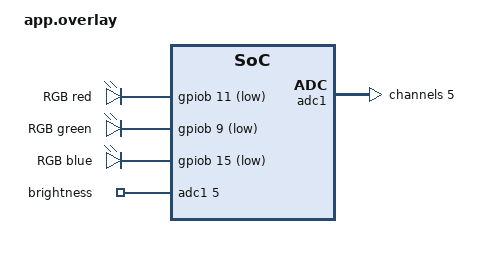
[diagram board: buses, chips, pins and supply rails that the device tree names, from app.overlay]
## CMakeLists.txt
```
cmake_minimum_required(VERSION 3.20.0)

find_package(Zephyr REQUIRED HINTS $ENV{ZEPHYR_BASE})
project(embedded_platforms_hands_on)

target_sources(app PRIVATE
    src/main.c
    src/button.c
)
```

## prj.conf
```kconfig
CONFIG_GPIO=y
CONFIG_ADC=y
CONFIG_SERIAL=y
CONFIG_CONSOLE=y
CONFIG_UART_CONSOLE=y
CONFIG_PRINTK=y

CONFIG_MAIN_STACK_SIZE=2048
CONFIG_ASSERT=y
```

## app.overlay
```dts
#include <zephyr/dt-bindings/adc/adc.h>
#include <zephyr/dt-bindings/gpio/gpio.h>

/ {
	aliases {
		/* Names used by main.c for the three RGB channels. */
		rgb-red = &rgb_red;
		rgb-green = &rgb_green;
		rgb-blue = &rgb_blue;
	};

	/*
	 * External RGB LED is common-anode: PB11 is red, PB9 is green,
	 * and PB15 is blue. The common anode connects to 3V3.
	 * Active-low GPIO flags turn each color on when the pin is low.
	 */
	rgb_channels: rgb_channels {
		compatible = "gpio-leds";

		rgb_red: red {
			/* Red channel on PB11. */
			gpios = <&gpiob 11 GPIO_ACTIVE_LOW>;
			label = "RGB red";
		};

		rgb_green: green {
			/* Green channel on PB9. */
			gpios = <&gpiob 9 GPIO_ACTIVE_LOW>;
			label = "RGB green";
		};

		rgb_blue: blue {
			/* Blue channel on PB15. */
			gpios = <&gpiob 15 GPIO_ACTIVE_LOW>;
			label = "RGB blue";
		};
	};

	zephyr,user {
		/* Arduino A0 = PB1 = ADC1_IN5 on NUCLEO-WL55JC. */
		/* This is the LDR input used by the application. */
		io-channels = <&adc1 5>;
		io-channel-names = "brightness";
	};
};

&adc1 {
	/* Set the ADC channel used by the LDR. */
	#address-cells = <1>;
	#size-cells = <0>;

	channel@5 {
		/* Channel 5 is connected to the LDR voltage divider. */
		reg = <5>;
		/* Use a direct ADC gain. */
		zephyr,gain = "ADC_GAIN_1";
		/* Required by Zephyr 4.1.0's STM32 ADC driver. */
		zephyr,reference = "ADC_REF_INTERNAL";
		/* A slow LDR divider needs more ADC sample time. */
		zephyr,acquisition-time = <ADC_ACQ_TIME_MAX>;
		/* Use the 12-bit ADC range. */
		zephyr,resolution = <12>;
	};
};
```

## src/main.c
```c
#include <errno.h>
#include <stdbool.h>
#include <stddef.h>
#include <stdint.h>

#include <zephyr/device.h>
#include <zephyr/drivers/adc.h>
#include <zephyr/drivers/gpio.h>
#include <zephyr/kernel.h>
#include <zephyr/sys/printk.h>
#include <zephyr/sys/util.h>

#include "button.h"

/* Take one ADC sample every two seconds in NORMAL mode. */
#define SAMPLE_PERIOD_MS 2000
/* Use 12 bits when the ADC does not give a resolution value. */
#define ADC_DEFAULT_RESOLUTION 12
/* Keep the LDR scale at the normal value. */
#define LDR_SENSITIVITY_PERCENT 100U

/* This divider's ADC voltage falls as the light level increases. */
#define LDR_BRIGHTNESS_INVERTED 1

enum app_mode {
	/* The three states used by the main control loop. */
	MODE_NORMAL,
	MODE_BLUE,
	MODE_OFF,
};

enum brightness_color {
	/* The colors selected from the LDR value. */
	BRIGHTNESS_RED,
	BRIGHTNESS_YELLOW,
	BRIGHTNESS_GREEN,
};

/* RGB pins and the LDR channel come from app.overlay. */
static const struct gpio_dt_spec rgb_red =
	GPIO_DT_SPEC_GET(DT_ALIAS(rgb_red), gpios);
static const struct gpio_dt_spec rgb_green =
	GPIO_DT_SPEC_GET(DT_ALIAS(rgb_green), gpios);
static const struct gpio_dt_spec rgb_blue =
	GPIO_DT_SPEC_GET(DT_ALIAS(rgb_blue), gpios);
static const struct adc_dt_spec ldr_adc =
	ADC_DT_SPEC_GET_BY_IDX(DT_PATH(zephyr_user), 0);

/* Get the color name used in the serial log. */
static const char *brightness_color_name(enum brightness_color color)
{
	switch (color) {
	case BRIGHTNESS_RED:
		return "RED";
	case BRIGHTNESS_YELLOW:
		return "YELLOW";
	case BRIGHTNESS_GREEN:
		return "GREEN";
	default:
		return "UNKNOWN";
	}
}

static int init_rgb(void)
{
	/* Check and configure all three RGB pins as outputs. */
	const struct gpio_dt_spec *channels[] = {
		&rgb_red,
		&rgb_green,
		&rgb_blue,
	};

	for (size_t i = 0; i < ARRAY_SIZE(channels); ++i) {
		if (!device_is_ready(channels[i]->port)) {
			printk("ERROR: RGB channel %u GPIO device is not ready\n",
			       (unsigned int)i);
			return -ENODEV;
		}

		int ret = gpio_pin_configure_dt(channels[i], GPIO_OUTPUT_INACTIVE);
		if (ret != 0) {
			printk("ERROR: RGB channel %u configuration failed (%d)\n",
			       (unsigned int)i, ret);
			return ret;
		}
	}

	return 0;
}

static int set_rgb(bool red, bool green, bool blue)
{
	/* Set the three color channels. The device tree handles active-low logic. */
	int ret = gpio_pin_set_dt(&rgb_red, red);
	if (ret != 0) {
		return ret;
	}

	ret = gpio_pin_set_dt(&rgb_green, green);
	if (ret != 0) {
		return ret;
	}

	return gpio_pin_set_dt(&rgb_blue, blue);
}

static int set_rgb_color(enum brightness_color color)
{
	/* Map a brightness color to the RGB channels. */
	switch (color) {
	case BRIGHTNESS_RED:
		return set_rgb(true, false, false);
	case BRIGHTNESS_YELLOW:
		return set_rgb(true, true, false);
	case BRIGHTNESS_GREEN:
		return set_rgb(false, true, false);
	default:
		return -EINVAL;
	}
}

static int set_rgb_blue(void)
{
	/* Show the BLUE mode color. */
	return set_rgb(false, false, true);
}

static int set_rgb_off(void)
{
	/* Turn all RGB channels off. */
	return set_rgb(false, false, false);
}

static int init_adc(void)
{
	/* Check the ADC and apply the channel setup from app.overlay. */
	if (!adc_is_ready_dt(&ldr_adc)) {
		printk("ERROR: brightness ADC device is not ready\n");
		return -ENODEV;
	}

	int ret = adc_channel_setup_dt(&ldr_adc);
	if (ret != 0) {
		printk("ERROR: brightness ADC channel setup failed (%d)\n", ret);
		return ret;
	}

	return 0;
}

static uint32_t adc_full_scale(void)
{
	/* Return the largest value for the current ADC resolution. */
	uint8_t resolution = ldr_adc.resolution;

	if (resolution == 0) {
		resolution = ADC_DEFAULT_RESOLUTION;
	}
	if (resolution >= 31) {
		return UINT32_MAX;
	}

	return BIT(resolution) - 1U;
}

static int read_brightness(uint16_t *raw_value, uint32_t *full_scale)
{
	/* Take one ADC reading and return its raw value and full scale. */
	int16_t sample;
	struct adc_sequence sequence = {
		.buffer = &sample,
		.buffer_size = sizeof(sample),
	};

	int ret = adc_sequence_init_dt(&ldr_adc, &sequence);
	if (ret != 0) {
		return ret;
	}

	ret = adc_read(ldr_adc.dev, &sequence);
	if (ret != 0) {
		return ret;
	}
	if (sample < 0) {
		return -EIO;
	}

	*raw_value = (uint16_t)sample;
	*full_scale = adc_full_scale();
	return 0;
}

static enum brightness_color color_for_sample(uint16_t raw_value,
					     uint32_t full_scale,
					     uint32_t *percentage_x100)
{
	/* Convert the ADC value to a brightness percent and choose a color. */
	uint32_t adjusted = MIN((uint32_t)raw_value, full_scale);

	if (LDR_BRIGHTNESS_INVERTED != 0) {
		adjusted = full_scale - adjusted;
	}

	/*
	 * Keep the required 33%/66% color thresholds, but scale the sensor
	 * response so an LDR module with a narrow voltage range can exercise all
	 * three colors. 100 is neutral; 200 doubles the effective brightness and
	 * clamps at the ADC full scale.
	 */
	adjusted = MIN((adjusted * LDR_SENSITIVITY_PERCENT + 50U) / 100U,
			       full_scale);

	/* Keep two decimal places in the log without using floating point. */
	*percentage_x100 = (adjusted * 10000U + (full_scale / 2U)) / full_scale;

	/* Compare rational percentages to preserve the exact 33/66 boundaries. */
	if (adjusted * 100U < full_scale * 33U) {
		return BRIGHTNESS_RED;
	}
	if (adjusted * 100U <= full_scale * 66U) {
		return BRIGHTNESS_YELLOW;
	}
	return BRIGHTNESS_GREEN;
}

static void sample_and_report(void)
{
	/* Read the LDR, update the LED, and print the result. */
	uint16_t raw_value;
	uint32_t full_scale;
	uint32_t percentage_x100;

	int ret = read_brightness(&raw_value, &full_scale);
	if (ret != 0) {
		printk("ERROR: ADC reading failed (%d)\n", ret);
		return;
	}
	if (full_scale == 0) {
		printk("ERROR: invalid ADC full-scale value\n");
		return;
	}

	enum brightness_color color =
		color_for_sample(raw_value, full_scale, &percentage_x100);
	ret = set_rgb_color(color);
	if (ret != 0) {
		printk("ERROR: RGB update failed (%d)\n", ret);
		return;
	}

	printk("ADC: raw=%u, full_scale=%u, brightness=%u.%02u%%, color=%s\n",
	       (unsigned int)raw_value,
	       (unsigned int)full_scale,
	       (unsigned int)(percentage_x100 / 100U),
	       (unsigned int)(percentage_x100 % 100U),
	       brightness_color_name(color));
}

static void enter_normal(enum app_mode *mode,
			 int64_t *next_sample_deadline,
			 bool adc_ready)
{
	/* Restore NORMAL mode and take an immediate sample when possible. */
	*mode = MODE_NORMAL;
	printk("Mode: NORMAL; ADC acquisition resumed\n");

	if (adc_ready) {
		/* Immediate sample on restoration, then continue every two seconds. */
		sample_and_report();
		*next_sample_deadline = k_uptime_get() + SAMPLE_PERIOD_MS;
	} else {
		(void)set_rgb_off();
		*next_sample_deadline = 0;
		printk("ADC unavailable; NORMAL sampling is disabled\n");
	}
}

static void process_button_action(const struct button_action *action,
				  enum app_mode *mode,
				  int64_t *next_sample_deadline,
				  bool adc_ready)
{
	/* Apply one short-press or long-press action to the state machine. */
	if (action->type == BUTTON_ACTION_LONG_PRESS) {
		if (*mode == MODE_NORMAL || *mode == MODE_BLUE) {
			*mode = MODE_OFF;
			*next_sample_deadline = 0;
			(void)set_rgb_off();
			printk("Mode: OFF\n");
			printk("System OFF\n");
		}
		return;
	}

	if (action->type != BUTTON_ACTION_SHORT_PRESS) {
		return;
	}

	switch (*mode) {
	case MODE_NORMAL:
		*mode = MODE_BLUE;
		*next_sample_deadline = 0;
		(void)set_rgb_blue();
		printk("Mode: BLUE; ADC acquisition suspended\n");
		break;
	case MODE_BLUE:
	case MODE_OFF:
		enter_normal(mode, next_sample_deadline, adc_ready);
		break;
	default:
		break;
	}
}

int main(void)
{
	/* Start the hardware, then run the main control loop. */
	int ret = init_rgb();
	if (ret != 0) {
		printk("RGB initialization failed (%d)\n", ret);
	}

	ret = button_init();
	if (ret != 0) {
		printk("Button initialization failed (%d)\n", ret);
	}

	bool adc_ready = (init_adc() == 0);
	enum app_mode mode = MODE_NORMAL;
	int64_t next_sample_deadline = 0;

	printk("Brightness monitor started\n");
	printk("Mode: NORMAL; ADC period: %d ms\n", SAMPLE_PERIOD_MS);

	if (adc_ready) {
		sample_and_report();
		next_sample_deadline = k_uptime_get() + SAMPLE_PERIOD_MS;
	} else {
		(void)set_rgb_off();
		printk("ADC initialization failed; sampling is disabled\n");
	}

	for (;;) {
		struct button_action action;
		int wait_result;

		/* NORMAL waits for the next sample or a button action. */
		if (mode == MODE_NORMAL && adc_ready) {
			int64_t remaining = next_sample_deadline - k_uptime_get();

			if (remaining <= 0) {
				sample_and_report();
				next_sample_deadline = k_uptime_get() + SAMPLE_PERIOD_MS;
				continue;
			}

			wait_result = button_wait_for_action(&action, K_MSEC(remaining));
			if (wait_result == -EAGAIN) {
				sample_and_report();
				next_sample_deadline = k_uptime_get() + SAMPLE_PERIOD_MS;
				continue;
			}
		} else {
			/* BLUE and OFF wait only for a button action. */
			wait_result = button_wait_for_action(&action, K_FOREVER);
		}

		if (wait_result == 0) {
			process_button_action(&action,
					      &mode,
					      &next_sample_deadline,
					      adc_ready);
		} else if (wait_result != -EAGAIN) {
			printk("ERROR: button action queue read failed (%d)\n",
			       wait_result);
		}
	}
}
```

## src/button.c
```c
#include "button.h"

#include <errno.h>
#include <stdbool.h>

#include <zephyr/device.h>
#include <zephyr/drivers/gpio.h>
#include <zephyr/kernel.h>
#include <zephyr/sys/atomic.h>
#include <zephyr/sys/printk.h>
#include <zephyr/sys/util.h>

/* Hold B2 for one second to make a long-press action. */
#define BUTTON_LONG_PRESS_MS 1000
/* Settings for the button thread and its queues. */
#define BUTTON_THREAD_STACK_SIZE 1024
#define BUTTON_THREAD_PRIORITY 5
#define RAW_EVENT_QUEUE_LENGTH 8
#define ACTION_QUEUE_LENGTH 8

/* One raw button edge with its time. */
struct raw_button_event {
	bool pressed;
	int64_t timestamp_ms;
};

/* B2 is the sw1 GPIO alias from the board device tree. */
static const struct gpio_dt_spec b2 = GPIO_DT_SPEC_GET(DT_ALIAS(sw1), gpios);
static struct gpio_callback b2_callback;

/* The ISR writes raw edges here. */
K_MSGQ_DEFINE(raw_button_msgq,
	      sizeof(struct raw_button_event),
	      RAW_EVENT_QUEUE_LENGTH,
	      8);
/* The button thread writes short or long actions here. */
K_MSGQ_DEFINE(button_action_msgq,
	      sizeof(struct button_action),
	      ACTION_QUEUE_LENGTH,
	      8);

K_THREAD_STACK_DEFINE(button_thread_stack, BUTTON_THREAD_STACK_SIZE);
static struct k_thread button_thread;
/* Count raw events that could not enter the ISR queue. */
static atomic_t dropped_raw_events;

/* Send one high-level button action to main.c. */
static void publish_action(enum button_action_type type, int64_t timestamp_ms)
{
	struct button_action action = {
		.type = type,
		.timestamp_ms = timestamp_ms,
	};

	if (k_msgq_put(&button_action_msgq, &action, K_NO_WAIT) != 0) {
		/* The main thread normally drains this queue immediately. */
		printk("WARNING: button action queue full\n");
	}
}

static void b2_isr(const struct device *port,
		   struct gpio_callback *callback,
		   uint32_t pins)
{
	/* Read the edge and save it without waiting in interrupt context. */
	ARG_UNUSED(port);
	ARG_UNUSED(callback);
	ARG_UNUSED(pins);

	int state = gpio_pin_get_dt(&b2);
	if (state < 0) {
		return;
	}

	struct raw_button_event event = {
		.pressed = (state != 0),
		.timestamp_ms = k_uptime_get(),
	};

	/* ISR context must never wait for queue space. */
	if (k_msgq_put(&raw_button_msgq, &event, K_NO_WAIT) != 0) {
		atomic_inc(&dropped_raw_events);
	}
}

static void report_dropped_events(void)
{
	/* Report and clear any raw events lost when the queue was full. */
	atomic_val_t dropped = atomic_set(&dropped_raw_events, 0);
	if (dropped > 0) {
		printk("WARNING: dropped %d raw button event(s)\n", (int)dropped);
	}
}

static void wait_for_release_after_long_press(void)
{
	/* Wait for release so a long press cannot create a short press. */
	for (;;) {
		struct raw_button_event release;
		int ret = k_msgq_get(&raw_button_msgq, &release, K_MSEC(50));

		if (ret == 0) {
			if (!release.pressed) {
				return;
			}
			continue;
		}

		if (ret == -EAGAIN) {
			/* Recover if the release edge was dropped when the queue was full. */
			int state = gpio_pin_get_dt(&b2);
			if (state <= 0) {
				return;
			}
		}
	}
}

static void button_thread_entry(void *unused_a, void *unused_b, void *unused_c)
{
	/* Turn raw press/release edges into one short or long action. */
	ARG_UNUSED(unused_a);
	ARG_UNUSED(unused_b);
	ARG_UNUSED(unused_c);

	for (;;) {
		struct raw_button_event press;

		report_dropped_events();
		if (k_msgq_get(&raw_button_msgq, &press, K_FOREVER) != 0) {
			continue;
		}

		/* A release while idle is not an action. */
		if (!press.pressed) {
			continue;
		}

		/* The deadline lets the long action happen before release. */
		const int64_t deadline = press.timestamp_ms + BUTTON_LONG_PRESS_MS;
		bool long_reported = false;

		for (;;) {
			struct raw_button_event next;
			int64_t remaining = deadline - k_uptime_get();

			if (remaining <= 0) {
				/* The threshold is reached without waiting for release. */
				publish_action(BUTTON_ACTION_LONG_PRESS, k_uptime_get());
				long_reported = true;
				break;
			}

			int ret = k_msgq_get(&raw_button_msgq, &next, K_MSEC(remaining));
			if (ret == -EAGAIN) {
				publish_action(BUTTON_ACTION_LONG_PRESS, k_uptime_get());
				long_reported = true;
				break;
			}
			if (ret != 0) {
				continue;
			}

			if (next.pressed) {
				/* Ignore duplicate press edges while the button is held. */
				continue;
			}

			/* Check the timestamp first so a release at the threshold is long. */
			if (next.timestamp_ms - press.timestamp_ms >= BUTTON_LONG_PRESS_MS) {
				publish_action(BUTTON_ACTION_LONG_PRESS, next.timestamp_ms);
				long_reported = true;
			} else {
				publish_action(BUTTON_ACTION_SHORT_PRESS, next.timestamp_ms);
			}
			break;
		}

		if (long_reported) {
			/* Consume the eventual release without generating a short press. */
			wait_for_release_after_long_press();
		}
	}
}

int button_init(void)
{
	/* Configure B2, install its ISR, and start the button thread. */
	if (!device_is_ready(b2.port)) {
		printk("ERROR: B2 GPIO device is not ready\n");
		return -ENODEV;
	}

	int ret = gpio_pin_configure_dt(&b2, GPIO_INPUT);
	if (ret != 0) {
		printk("ERROR: B2 GPIO configuration failed (%d)\n", ret);
		return ret;
	}

	gpio_init_callback(&b2_callback, b2_isr, BIT(b2.pin));
	ret = gpio_add_callback(b2.port, &b2_callback);
	if (ret != 0) {
		printk("ERROR: B2 callback registration failed (%d)\n", ret);
		return ret;
	}

	ret = gpio_pin_interrupt_configure_dt(&b2, GPIO_INT_EDGE_BOTH);
	if (ret != 0) {
		printk("ERROR: B2 interrupt configuration failed (%d)\n", ret);
		return ret;
	}

	k_thread_create(&button_thread,
			button_thread_stack,
			K_THREAD_STACK_SIZEOF(button_thread_stack),
			button_thread_entry,
			NULL, NULL, NULL,
			BUTTON_THREAD_PRIORITY,
			0,
			K_NO_WAIT);

	return 0;
}

int button_wait_for_action(struct button_action *action, k_timeout_t timeout)
{
	/* Let main.c wait for the next high-level button action. */
	if (action == NULL) {
		return -EINVAL;
	}

	return k_msgq_get(&button_action_msgq, action, timeout);
}
```

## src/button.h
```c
#ifndef BUTTON_H_
#define BUTTON_H_

#include <zephyr/kernel.h>

#include <stdint.h>

enum button_action_type {
	BUTTON_ACTION_SHORT_PRESS,
	BUTTON_ACTION_LONG_PRESS,
};

struct button_action {
	enum button_action_type type;
	int64_t timestamp_ms;
};

/**
 * Configure B2, install its interrupt callback, and start the button thread.
 *
 * @return 0 on success or a negative errno value on failure.
 */
int button_init(void);

/**
 * Get a high-level button action produced by the button thread.
 *
 * @return 0 when an action is returned, or a negative errno value.
 */
int button_wait_for_action(struct button_action *action, k_timeout_t timeout);

#endif /* BUTTON_H_ */
```
